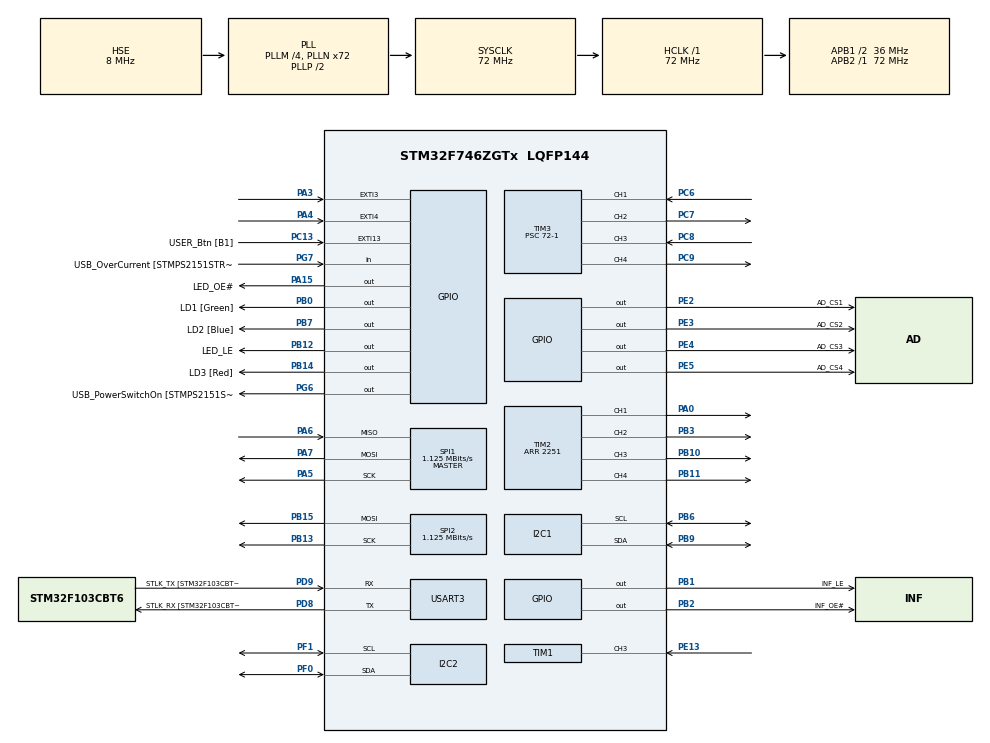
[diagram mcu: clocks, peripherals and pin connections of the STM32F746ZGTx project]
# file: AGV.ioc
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SPI1.VirtualType=VM_MASTER
SPI2.VirtualType=VM_MASTER
NVIC.TIM6_DAC_IRQn=true\:0\:0\:false\:false\:true\:true\:true
PB14.GPIO_Label=LD3 [Red]
PG6.GPIO_Label=USB_PowerSwitchOn [STMPS2151STR_EN]
PA14.GPIO_Label=TCK
PB13.Signal=SPI2_SCK
TIM3.Channel-PWM\ Generation4\ CH4=TIM_CHANNEL_4
RCC.SYSCLKSource=RCC_SYSCLKSOURCE_PLLCLK
USART3.VirtualMode-Asynchronous=VM_ASYNC
SPI1.Direction=SPI_DIRECTION_2LINES
RCC.APB2TimFreq_Value=72000000
PB6.Signal=I2C1_SCL
PC7.Signal=S_TIM3_CH2
PH1/OSC_OUT.Signal=RCC_OSC_OUT
PB6.Mode=I2C
SPI1.CalculateBaudRate=1.125 MBits/s
PD8.Signal=USART3_TX
PE5.Signal=GPIO_Output
TIM3.Channel-Input_Capture1_from_TI1=TIM_CHANNEL_1
PB2.Signal=GPIO_Output
PB12.GPIO_Label=LED_LE
PB1.GPIO_Label=INF_LE
SPI1.DataSize=SPI_DATASIZE_8BIT
PE4.GPIO_Label=AD_CS3
PE5.PinState=GPIO_PIN_SET
SPI2.CalculateBaudRate=1.125 MBits/s
PE2.Signal=GPIO_Output
VP_TIM1_VS_ClockSourceINT.Mode=Internal
Mcu.Package=LQFP144
PB9.Signal=I2C1_SDA
PB1.Signal=GPIO_Output
SPI2.Mode=SPI_MODE_MASTER
TIM7.AutoReloadPreload=TIM_AUTORELOAD_PRELOAD_ENABLE
RCC.APB1TimFreq_Value=72000000
TIM3.Pulse-PWM\ Generation2\ CH2=10
PB13.Mode=TX_Only_Simplex_Unidirect_Master
PA5.Mode=Full_Duplex_Master
NVIC.EXTI4_IRQn=true\:0\:0\:false\:false\:true\:true\:true
PD9.GPIO_Label=STLK_TX [STM32F103CBT6_PA2]
PC13.Signal=GPXTI13
PC6.Signal=S_TIM3_CH1
RCC.APB1CLKDivider=RCC_HCLK_DIV2
TIM1.AutoReloadPreload=TIM_AUTORELOAD_PRELOAD_ENABLE
PF1.Mode=I2C
I2C1.Timing=0x00808CD2
PD8.Mode=Asynchronous
PB10.Signal=S_TIM2_CH3
PB14.Signal=GPIO_Output
PA5.Signal=SPI1_SCK
NVIC.TIM3_IRQn=true\:0\:0\:false\:false\:true\:true\:true
RCC.PRESCALERUSB=RCC_USBCLKSOURCE_PLL_DIV1_5
SPI1.Mode=SPI_MODE_MASTER
PG7.GPIO_Label=USB_OverCurrent [STMPS2151STR_FAULT]
TIM2.Period=2251
PA13.Mode=Serial_Wire
SPI1.NSSPMode=SPI_NSS_PULSE_DISABLE
NVIC.TIM1_CC_IRQn=true\:0\:0\:false\:false\:true\:true\:true
PA4.Signal=GPXTI4
PE5.GPIO_Label=AD_CS4
SH.S_TIM2_CH1_ETR.0=TIM2_CH1,PWM Generation1 CH1
ProjectManager.HeapSize=0x200
NVIC.PriorityGroup=NVIC_PRIORITYGROUP_4
TIM3.Channel-PWM\ Generation2\ CH2=TIM_CHANNEL_2
PE3.Signal=GPIO_Output
TIM2.AutoReloadPreload=TIM_AUTORELOAD_PRELOAD_ENABLE
PE4.PinState=GPIO_PIN_SET
PC15/OSC32_OUT.Signal=RCC_OSC32_OUT
SPI2.DataSize=SPI_DATASIZE_8BIT
PB0.Signal=GPIO_Output
Mcu.Family=STM32F7
PA6.Mode=Full_Duplex_Master
RCC.CortexFreq_Value=72000000
PG6.Signal=GPIO_Output
RCC.SYSCLKSourceVirtual=RCC_SYSCLKSOURCE_PLLCLK
I2C2.Timing=0x00808CD2
NVIC.EXTI3_IRQn=true\:0\:0\:false\:false\:true\:true\:true
PA0/WKUP.Signal=S_TIM2_CH1_ETR
PB0.GPIO_Label=LD1 [Green]
PC14/OSC32_IN.Mode=LSE-External-Oscillator
TIM2.Channel-PWM\ Generation2\ CH2=TIM_CHANNEL_2
PC13.GPIO_Label=USER_Btn [B1]
PB11.Signal=S_TIM2_CH4
PB15.Signal=SPI2_MOSI
PD9.Mode=Asynchronous
ProjectManager.StackSize=0x400
VP_TIM7_VS_ClockSourceINT.Mode=Enable_Timer
TIM3.Channel-Input_Capture3_from_TI3=TIM_CHANNEL_3
PA15.GPIO_Label=LED_OE\#
TIM1.Prescaler=72-1
PH0/OSC_IN.Mode=HSE-External-Oscillator
RCC.HCLKFreq_Value=72000000
RCC.AHBFreq_Value=72000000
SPI2.BaudRatePrescaler=SPI_BAUDRATEPRESCALER_32
PE3.PinState=GPIO_PIN_SET
RCC.HSE_VALUE=8000000
RCC.PLLMUL=RCC_PLL_MUL9
PE13.Signal=S_TIM1_CH3
TIM1.Channel-Input_Capture3_from_TI3=TIM_CHANNEL_3
PA14.Mode=Serial_Wire
TIM3.Prescaler=72-1
PB7.Signal=GPIO_Output
TIM2.Channel-PWM\ Generation1\ CH1=TIM_CHANNEL_1
SH.S_TIM3_CH1.0=TIM3_CH1,Input_Capture1_from_TI1
PE4.Signal=GPIO_Output
PH1/OSC_OUT.Mode=HSE-External-Oscillator
PB7.GPIO_Label=LD2 [Blue]
PA6.Signal=SPI1_MISO
PC14/OSC32_IN.Signal=RCC_OSC32_IN
PA15.Signal=GPIO_Output
SPI2.Direction=SPI_DIRECTION_2LINES
PF0.Signal=I2C2_SDA
SPI1.BaudRatePrescaler=SPI_BAUDRATEPRESCALER_64
PE2.GPIO_Label=AD_CS1
NVIC.TIM7_IRQn=true\:0\:0\:false\:false\:true\:true\:true
VP_TIM3_VS_ClockSourceINT.Mode=Internal
PA3.Signal=GPXTI3
RCC.PLLSourceVirtual=RCC_PLLSOURCE_HSE
TIM2.Channel-PWM\ Generation4\ CH4=TIM_CHANNEL_4
PA7.Mode=Full_Duplex_Master
PG7.Signal=GPIO_Input
PE2.PinState=GPIO_PIN_SET
SPI2.NSSPMode=SPI_NSS_PULSE_DISABLE
PC8.Signal=S_TIM3_CH3
TIM6.Prescaler=3599
VP_TIM6_VS_ClockSourceINT.Mode=Enable_Timer
PD9.Signal=USART3_RX
SH.S_TIM3_CH3.0=TIM3_CH3,Input_Capture3_from_TI3
PD8.GPIO_Label=STLK_RX [STM32F103CBT6_PA3]
PA13.Signal=SYS_JTMS-SWDIO
TIM6.AutoReloadPreload=TIM_AUTORELOAD_PRELOAD_ENABLE
SH.S_TIM2_CH2.0=TIM2_CH2,PWM Generation2 CH2
ProjectManager.TargetToolchain=STM32CubeIDE
PB9.Mode=I2C
RCC.USBFreq_Value=48000000
SH.S_TIM3_CH2.0=TIM3_CH2,PWM Generation2 CH2
TIM7.Prescaler=3599
board=NUCLEO-F746ZG
RCC.VCOOutputFreq_Value=144000000
PB15.Mode=TX_Only_Simplex_Unidirect_Master
PH0/OSC_IN.Signal=RCC_OSC_IN
RCC.APB2Freq_Value=72000000
VP_TIM2_VS_ClockSourceINT.Mode=Internal
SH.S_TIM2_CH3.0=TIM2_CH3,PWM Generation3 CH3
TIM2.Channel-PWM\ Generation3\ CH3=TIM_CHANNEL_3
PF1.Signal=I2C2_SCL
Mcu.Name=STM32F746ZGTx
PA13.GPIO_Label=TMS
RCC.48MHZClocksFreq_Value=24000000
PB3.Signal=S_TIM2_CH2
RCC.SYSCLKFreq_VALUE=72000000
PC15/OSC32_OUT.Mode=LSE-External-Oscillator
PA14.Signal=SYS_JTCK-SWCLK
PB2.GPIO_Label=INF_OE\#
PF0.Mode=I2C
SH.S_TIM2_CH4.0=TIM2_CH4,PWM Generation4 CH4
SH.S_TIM1_CH3.0=TIM1_CH3,Input_Capture3_from_TI3
RCC.HSI_VALUE=16000000
PH0/OSC_IN.GPIO_Label=MCO [STM32F103CBT6_PA8]
RCC.PLLQ=3
RCC.PLLM=4
RCC.PLLN=72
PE3.GPIO_Label=AD_CS2
PC9.Signal=S_TIM3_CH4
RCC.APB1Freq_Value=36000000
TIM3.Pulse-PWM\ Generation4\ CH4=10
PB12.Signal=GPIO_Output
SH.S_TIM3_CH4.0=TIM3_CH4,PWM Generation4 CH4
PA7.Signal=SPI1_MOSI

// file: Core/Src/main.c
/* USER CODE BEGIN Header */
/**
  ******************************************************************************
  * @file           : main.c
  * @brief          : Main program body
  ******************************************************************************
  * @attention
  *
  * <h2><center>&copy; Copyright (c) 2021 STMicroelectronics.
  * All rights reserved.</center></h2>
  *
  * This software component is licensed by ST under BSD 3-Clause license,
  * the "License"; You may not use this file except in compliance with the
  * License. You may obtain a copy of the License at:
  *                        opensource.org/licenses/BSD-3-Clause
  *
  ******************************************************************************
  */
/* USER CODE END Header */
#include "main.h"

I2C_HandleTypeDef hi2c1;
I2C_HandleTypeDef hi2c2;

SPI_HandleTypeDef hspi1;
SPI_HandleTypeDef hspi2;

TIM_HandleTypeDef htim1;
TIM_HandleTypeDef htim2;
TIM_HandleTypeDef htim3;
TIM_HandleTypeDef htim6;
TIM_HandleTypeDef htim7;

UART_HandleTypeDef huart3;

void SystemClock_Config(void);
static void MX_GPIO_Init(void);
static void MX_USART3_UART_Init(void);
static void MX_I2C1_Init(void);
static void MX_TIM1_Init(void);
static void MX_TIM3_Init(void);
static void MX_TIM2_Init(void);
static void MX_SPI1_Init(void);
static void MX_SPI2_Init(void);
static void MX_I2C2_Init(void);
static void MX_TIM6_Init(void);
static void MX_TIM7_Init(void);

int main(void)
{

  /* MCU Configuration--------------------------------------------------------*/

  /* Reset of all peripherals, Initializes the Flash interface and the Systick. */
  HAL_Init();

  /* Configure the system clock */
  SystemClock_Config();

  /* Initialize all configured peripherals */
  MX_GPIO_Init();
  MX_USART3_UART_Init();
  MX_I2C1_Init();
  MX_TIM1_Init();
  MX_TIM3_Init();
  MX_TIM2_Init();
  MX_SPI1_Init();
  MX_SPI2_Init();
  MX_I2C2_Init();
  MX_TIM6_Init();
  MX_TIM7_Init();
  /* USER CODE BEGIN 2 */
  initMyCOM(&huart3);
  Encoder_Init();
  Motors_Init(&htim2);
  initUS(&htim3);
  initACCSensor(&hi2c2);
  initlezer(&htim1);
  // Variables
  uint32_t black; //line detect
  unsigned int lDist = 500;
  unsigned int rDist = 500;
  unsigned int mDist = 5000;

  //rightMotor(0.60);
  //leftMotor(0.60);

  /* USER CODE END 2 */

  /* Infinite loop */
  /* USER CODE BEGIN WHILE */
  while (1)
  {
	  /*printf("\033[3J");
	  printf("\e[1;1H\e[2J");*/

	 //WriteEncoderToPC();
	 lightSensorCycle();
	 // printf("Leds: %x\n", (unsigned int)black);
	  lDist = (unsigned int)getUSDistanceLeft();
	//  printf("Left US sensor: %u\n", lDist);
	  rDist = (unsigned int)getUSDistanceRight();
	//  printf("Right US sensor: %u\n", rDist);
	 mDist = (unsigned int)getlezerDistance();
	 //printf("Laser sensor: %u\n", mDist);
	  //printf("Acceleration: x: %f y: %f z: %f, Euler: x: %f y: %f z: %f\n", getAccWithMeasure().x, getMeasuredAcc().y, getMeasuredAcc().z, getEulerWithMeasure().x, getMeasuredEuler().y, getMeasuredEuler().z);
	 printf("Y: %f\n", getAccWithMeasure().y);
	 /*
	  printf("                                                                                                                                \n");
	  printf("                                                                                                                                \n");
	  printf("                                                                                                                                \n");
	  printf("                                                                                                                                \n");
	  printf("                                                                                                                                \n");
	  printf("                                                                                                                                \n");
	  printf("                                                                                                                                \n");
	  printf("                                                                                                                                \n");
	  printf("                                                                                                                                \n");
	  printf("                                                                                                                                \n");
	  printf("                                                                                                                                \n");
	  printf("                                                                                                                                \n");
	  printf("                                                                                                                                \n");
	  printf("                                                                                                                                \n");
	  printf("                                                                                                                                \n");
	  printf("                                                                                                                                \n");
	  printf("                                                                                                                                \n");
	  printf("                                                                                                                                \n");
	  printf("                                                                                                                                \n");
	  printf("                                                                                                                                \n");
	  printf("                                                                                                                                \n");
*/
	  if (lDist < 50 || rDist < 50 || mDist < 500)
	  {
		  leftMotor(0);
		  rightMotor(0);
	  }
	  else
	  {
		  leftMotor(0.6);
		  rightMotor(0.6);
	  }
/*
	  double avgSpeed = 0;
	  for(int i = 0; i < 100; i++){
		  avgSpeed += GetSpeedOfMotor(1);
	  }
	  printf("%f\n", avgSpeed);
*/
    /* USER CODE END WHILE */

  }
}

void SystemClock_Config(void)
{
  RCC_OscInitTypeDef RCC_OscInitStruct = {0};
  RCC_ClkInitTypeDef RCC_ClkInitStruct = {0};
  RCC_PeriphCLKInitTypeDef PeriphClkInitStruct = {0};

  /** Configure LSE Drive Capability
  */
  HAL_PWR_EnableBkUpAccess();
  /** Configure the main internal regulator output voltage
  */
  __HAL_RCC_PWR_CLK_ENABLE();
  __HAL_PWR_VOLTAGESCALING_CONFIG(PWR_REGULATOR_VOLTAGE_SCALE3);
  /** Initializes the RCC Oscillators according to the specified parameters
  * in the RCC_OscInitTypeDef structure.
  */
  RCC_OscInitStruct.OscillatorType = RCC_OSCILLATORTYPE_HSE;
  RCC_OscInitStruct.HSEState = RCC_HSE_ON;
  RCC_OscInitStruct.PLL.PLLState = RCC_PLL_ON;
  RCC_OscInitStruct.PLL.PLLSource = RCC_PLLSOURCE_HSE;
  RCC_OscInitStruct.PLL.PLLM = 4;
  RCC_OscInitStruct.PLL.PLLN = 72;
  RCC_OscInitStruct.PLL.PLLP = RCC_PLLP_DIV2;
  RCC_OscInitStruct.PLL.PLLQ = 3;
  if (HAL_RCC_OscConfig(&RCC_OscInitStruct) != HAL_OK)
  {
    Error_Handler();
  }
  /** Initializes the CPU, AHB and APB buses clocks
  */
  RCC_ClkInitStruct.ClockType = RCC_CLOCKTYPE_HCLK|RCC_CLOCKTYPE_SYSCLK
                              |RCC_CLOCKTYPE_PCLK1|RCC_CLOCKTYPE_PCLK2;
  RCC_ClkInitStruct.SYSCLKSource = RCC_SYSCLKSOURCE_PLLCLK;
  RCC_ClkInitStruct.AHBCLKDivider = RCC_SYSCLK_DIV1;
  RCC_ClkInitStruct.APB1CLKDivider = RCC_HCLK_DIV2;
  RCC_ClkInitStruct.APB2CLKDivider = RCC_HCLK_DIV1;

  if (HAL_RCC_ClockConfig(&RCC_ClkInitStruct, FLASH_LATENCY_2) != HAL_OK)
  {
    Error_Handler();
  }
  PeriphClkInitStruct.PeriphClockSelection = RCC_PERIPHCLK_USART3|RCC_PERIPHCLK_I2C1
                              |RCC_PERIPHCLK_I2C2;
  PeriphClkInitStruct.Usart3ClockSelection = RCC_USART3CLKSOURCE_PCLK1;
  PeriphClkInitStruct.I2c1ClockSelection = RCC_I2C1CLKSOURCE_PCLK1;
  PeriphClkInitStruct.I2c2ClockSelection = RCC_I2C2CLKSOURCE_PCLK1;
  if (HAL_RCCEx_PeriphCLKConfig(&PeriphClkInitStruct) != HAL_OK)
  {
    Error_Handler();
  }
}

static void MX_I2C1_Init(void)
{

  hi2c1.Instance = I2C1;
  hi2c1.Init.Timing = 0x00808CD2;
  hi2c1.Init.OwnAddress1 = 0;
  hi2c1.Init.AddressingMode = I2C_ADDRESSINGMODE_7BIT;
  hi2c1.Init.DualAddressMode = I2C_DUALADDRESS_DISABLE;
  hi2c1.Init.OwnAddress2 = 0;
  hi2c1.Init.OwnAddress2Masks = I2C_OA2_NOMASK;
  hi2c1.Init.GeneralCallMode = I2C_GENERALCALL_DISABLE;
  hi2c1.Init.NoStretchMode = I2C_NOSTRETCH_DISABLE;
  if (HAL_I2C_Init(&hi2c1) != HAL_OK)
  {
    Error_Handler();
  }
  /** Configure Analogue filter
  */
  if (HAL_I2CEx_ConfigAnalogFilter(&hi2c1, I2C_ANALOGFILTER_ENABLE) != HAL_OK)
  {
    Error_Handler();
  }
  /** Configure Digital filter
  */
  if (HAL_I2CEx_ConfigDigitalFilter(&hi2c1, 0) != HAL_OK)
  {
    Error_Handler();
  }

}

static void MX_I2C2_Init(void)
{

  hi2c2.Instance = I2C2;
  hi2c2.Init.Timing = 0x00808CD2;
  hi2c2.Init.OwnAddress1 = 0;
  hi2c2.Init.AddressingMode = I2C_ADDRESSINGMODE_7BIT;
  hi2c2.Init.DualAddressMode = I2C_DUALADDRESS_DISABLE;
  hi2c2.Init.OwnAddress2 = 0;
  hi2c2.Init.OwnAddress2Masks = I2C_OA2_NOMASK;
  hi2c2.Init.GeneralCallMode = I2C_GENERALCALL_DISABLE;
  hi2c2.Init.NoStretchMode = I2C_NOSTRETCH_DISABLE;
  if (HAL_I2C_Init(&hi2c2) != HAL_OK)
  {
    Error_Handler();
  }
  /** Configure Analogue filter
  */
  if (HAL_I2CEx_ConfigAnalogFilter(&hi2c2, I2C_ANALOGFILTER_ENABLE) != HAL_OK)
  {
    Error_Handler();
  }
  /** Configure Digital filter
  */
  if (HAL_I2CEx_ConfigDigitalFilter(&hi2c2, 0) != HAL_OK)
  {
    Error_Handler();
  }

}

static void MX_SPI1_Init(void)
{

  /* SPI1 parameter configuration*/
  hspi1.Instance = SPI1;
  hspi1.Init.Mode = SPI_MODE_MASTER;
  hspi1.Init.Direction = SPI_DIRECTION_2LINES;
  hspi1.Init.DataSize = SPI_DATASIZE_8BIT;
  hspi1.Init.CLKPolarity = SPI_POLARITY_LOW;
  hspi1.Init.CLKPhase = SPI_PHASE_1EDGE;
  hspi1.Init.NSS = SPI_NSS_SOFT;
  hspi1.Init.BaudRatePrescaler = SPI_BAUDRATEPRESCALER_64;
  hspi1.Init.FirstBit = SPI_FIRSTBIT_MSB;
  hspi1.Init.TIMode = SPI_TIMODE_DISABLE;
  hspi1.Init.CRCCalculation = SPI_CRCCALCULATION_DISABLE;
  hspi1.Init.CRCPolynomial = 7;
  hspi1.Init.CRCLength = SPI_CRC_LENGTH_DATASIZE;
  hspi1.Init.NSSPMode = SPI_NSS_PULSE_DISABLE;
  if (HAL_SPI_Init(&hspi1) != HAL_OK)
  {
    Error_Handler();
  }

}

static void MX_SPI2_Init(void)
{

  /* SPI2 parameter configuration*/
  hspi2.Instance = SPI2;
  hspi2.Init.Mode = SPI_MODE_MASTER;
  hspi2.Init.Direction = SPI_DIRECTION_2LINES;
  hspi2.Init.DataSize = SPI_DATASIZE_8BIT;
  hspi2.Init.CLKPolarity = SPI_POLARITY_LOW;
  hspi2.Init.CLKPhase = SPI_PHASE_1EDGE;
  hspi2.Init.NSS = SPI_NSS_SOFT;
  hspi2.Init.BaudRatePrescaler = SPI_BAUDRATEPRESCALER_32;
  hspi2.Init.FirstBit = SPI_FIRSTBIT_MSB;
  hspi2.Init.TIMode = SPI_TIMODE_DISABLE;
  hspi2.Init.CRCCalculation = SPI_CRCCALCULATION_DISABLE;
  hspi2.Init.CRCPolynomial = 7;
  hspi2.Init.CRCLength = SPI_CRC_LENGTH_DATASIZE;
  hspi2.Init.NSSPMode = SPI_NSS_PULSE_DISABLE;
  if (HAL_SPI_Init(&hspi2) != HAL_OK)
  {
    Error_Handler();
  }

}

static void MX_TIM1_Init(void)
{

  TIM_ClockConfigTypeDef sClockSourceConfig = {0};
  TIM_MasterConfigTypeDef sMasterConfig = {0};
  TIM_IC_InitTypeDef sConfigIC = {0};

  htim1.Instance = TIM1;
  htim1.Init.Prescaler = 72-1;
  htim1.Init.CounterMode = TIM_COUNTERMODE_UP;
  htim1.Init.Period = 65535;
  htim1.Init.ClockDivision = TIM_CLOCKDIVISION_DIV1;
  htim1.Init.RepetitionCounter = 0;
  htim1.Init.AutoReloadPreload = TIM_AUTORELOAD_PRELOAD_ENABLE;
  if (HAL_TIM_Base_Init(&htim1) != HAL_OK)
  {
    Error_Handler();
  }
  sClockSourceConfig.ClockSource = TIM_CLOCKSOURCE_INTERNAL;
  if (HAL_TIM_ConfigClockSource(&htim1, &sClockSourceConfig) != HAL_OK)
  {
    Error_Handler();
  }
  if (HAL_TIM_IC_Init(&htim1) != HAL_OK)
  {
    Error_Handler();
  }
  sMasterConfig.MasterOutputTrigger = TIM_TRGO_RESET;
  sMasterConfig.MasterOutputTrigger2 = TIM_TRGO2_RESET;
  sMasterConfig.MasterSlaveMode = TIM_MASTERSLAVEMODE_DISABLE;
  if (HAL_TIMEx_MasterConfigSynchronization(&htim1, &sMasterConfig) != HAL_OK)
  {
    Error_Handler();
  }
  sConfigIC.ICPolarity = TIM_INPUTCHANNELPOLARITY_RISING;
  sConfigIC.ICSelection = TIM_ICSELECTION_DIRECTTI;
  sConfigIC.ICPrescaler = TIM_ICPSC_DIV1;
  sConfigIC.ICFilter = 0;
  if (HAL_TIM_IC_ConfigChannel(&htim1, &sConfigIC, TIM_CHANNEL_3) != HAL_OK)
  {
    Error_Handler();
  }

}

static void MX_TIM2_Init(void)
{

  TIM_ClockConfigTypeDef sClockSourceConfig = {0};
  TIM_MasterConfigTypeDef sMasterConfig = {0};
  TIM_OC_InitTypeDef sConfigOC = {0};

  htim2.Instance = TIM2;
  htim2.Init.Prescaler = 0;
  htim2.Init.CounterMode = TIM_COUNTERMODE_UP;
  htim2.Init.Period = 2251;
  htim2.Init.ClockDivision = TIM_CLOCKDIVISION_DIV1;
  htim2.Init.AutoReloadPreload = TIM_AUTORELOAD_PRELOAD_ENABLE;
  if (HAL_TIM_Base_Init(&htim2) != HAL_OK)
  {
    Error_Handler();
  }
  sClockSourceConfig.ClockSource = TIM_CLOCKSOURCE_INTERNAL;
  if (HAL_TIM_ConfigClockSource(&htim2, &sClockSourceConfig) != HAL_OK)
  {
    Error_Handler();
  }
  if (HAL_TIM_PWM_Init(&htim2) != HAL_OK)
  {
    Error_Handler();
  }
  sMasterConfig.MasterOutputTrigger = TIM_TRGO_RESET;
  sMasterConfig.MasterSlaveMode = TIM_MASTERSLAVEMODE_DISABLE;
  if (HAL_TIMEx_MasterConfigSynchronization(&htim2, &sMasterConfig) != HAL_OK)
  {
    Error_Handler();
  }
  sConfigOC.OCMode = TIM_OCMODE_PWM1;
  sConfigOC.Pulse = 0;
  sConfigOC.OCPolarity = TIM_OCPOLARITY_HIGH;
  sConfigOC.OCFastMode = TIM_OCFAST_DISABLE;
  if (HAL_TIM_PWM_ConfigChannel(&htim2, &sConfigOC, TIM_CHANNEL_1) != HAL_OK)
  {
    Error_Handler();
  }
  if (HAL_TIM_PWM_ConfigChannel(&htim2, &sConfigOC, TIM_CHANNEL_2) != HAL_OK)
  {
    Error_Handler();
  }
  if (HAL_TIM_PWM_ConfigChannel(&htim2, &sConfigOC, TIM_CHANNEL_3) != HAL_OK)
  {
    Error_Handler();
  }
  if (HAL_TIM_PWM_ConfigChannel(&htim2, &sConfigOC, TIM_CHANNEL_4) != HAL_OK)
  {
    Error_Handler();
  }
  HAL_TIM_MspPostInit(&htim2);

}

static void MX_TIM3_Init(void)
{

  TIM_ClockConfigTypeDef sClockSourceConfig = {0};
  TIM_MasterConfigTypeDef sMasterConfig = {0};
  TIM_IC_InitTypeDef sConfigIC = {0};
  TIM_OC_InitTypeDef sConfigOC = {0};

  htim3.Instance = TIM3;
  htim3.Init.Prescaler = 72-1;
  htim3.Init.CounterMode = TIM_COUNTERMODE_UP;
  htim3.Init.Period = 65535;
  htim3.Init.ClockDivision = TIM_CLOCKDIVISION_DIV1;
  htim3.Init.AutoReloadPreload = TIM_AUTORELOAD_PRELOAD_DISABLE;
  if (HAL_TIM_Base_Init(&htim3) != HAL_OK)
  {
    Error_Handler();
  }
  sClockSourceConfig.ClockSource = TIM_CLOCKSOURCE_INTERNAL;
  if (HAL_TIM_ConfigClockSource(&htim3, &sClockSourceConfig) != HAL_OK)
  {
    Error_Handler();
  }
  if (HAL_TIM_IC_Init(&htim3) != HAL_OK)
  {
    Error_Handler();
  }
  if (HAL_TIM_PWM_Init(&htim3) != HAL_OK)
  {
    Error_Handler();
  }
  sMasterConfig.MasterOutputTrigger = TIM_TRGO_RESET;
  sMasterConfig.MasterSlaveMode = TIM_MASTERSLAVEMODE_DISABLE;
  if (HAL_TIMEx_MasterConfigSynchronization(&htim3, &sMasterConfig) != HAL_OK)
  {
    Error_Handler();
  }
  sConfigIC.ICPolarity = TIM_INPUTCHANNELPOLARITY_RISING;
  sConfigIC.ICSelection = TIM_ICSELECTION_DIRECTTI;
  sConfigIC.ICPrescaler = TIM_ICPSC_DIV1;
  sConfigIC.ICFilter = 0;
  if (HAL_TIM_IC_ConfigChannel(&htim3, &sConfigIC, TIM_CHANNEL_1) != HAL_OK)
  {
    Error_Handler();
  }
  sConfigOC.OCMode = TIM_OCMODE_PWM1;
  sConfigOC.Pulse = 10;
  sConfigOC.OCPolarity = TIM_OCPOLARITY_HIGH;
  sConfigOC.OCFastMode = TIM_OCFAST_DISABLE;
  if (HAL_TIM_PWM_ConfigChannel(&htim3, &sConfigOC, TIM_CHANNEL_2) != HAL_OK)
  {
    Error_Handler();
  }
  if (HAL_TIM_IC_ConfigChannel(&htim3, &sConfigIC, TIM_CHANNEL_3) != HAL_OK)
  {
    Error_Handler();
  }
  if (HAL_TIM_PWM_ConfigChannel(&htim3, &sConfigOC, TIM_CHANNEL_4) != HAL_OK)
  {
    Error_Handler();
  }
  HAL_TIM_MspPostInit(&htim3);

}

static void MX_TIM6_Init(void)
{

  TIM_MasterConfigTypeDef sMasterConfig = {0};

  htim6.Instance = TIM6;
  htim6.Init.Prescaler = 3599;
  htim6.Init.CounterMode = TIM_COUNTERMODE_UP;
  htim6.Init.Period = 65535;
  htim6.Init.AutoReloadPreload = TIM_AUTORELOAD_PRELOAD_ENABLE;
  if (HAL_TIM_Base_Init(&htim6) != HAL_OK)
  {
    Error_Handler();
  }
  sMasterConfig.MasterOutputTrigger = TIM_TRGO_RESET;
  sMasterConfig.MasterSlaveMode = TIM_MASTERSLAVEMODE_DISABLE;
  if (HAL_TIMEx_MasterConfigSynchronization(&htim6, &sMasterConfig) != HAL_OK)
  {
    Error_Handler();
  }

}

static void MX_TIM7_Init(void)
{

  TIM_MasterConfigTypeDef sMasterConfig = {0};

  htim7.Instance = TIM7;
  htim7.Init.Prescaler = 3599;
  htim7.Init.CounterMode = TIM_COUNTERMODE_UP;
  htim7.Init.Period = 65535;
  htim7.Init.AutoReloadPreload = TIM_AUTORELOAD_PRELOAD_ENABLE;
  if (HAL_TIM_Base_Init(&htim7) != HAL_OK)
  {
    Error_Handler();
  }
  sMasterConfig.MasterOutputTrigger = TIM_TRGO_RESET;
  sMasterConfig.MasterSlaveMode = TIM_MASTERSLAVEMODE_DISABLE;
  if (HAL_TIMEx_MasterConfigSynchronization(&htim7, &sMasterConfig) != HAL_OK)
  {
    Error_Handler();
  }

}

static void MX_USART3_UART_Init(void)
{

  huart3.Instance = USART3;
  huart3.Init.BaudRate = 115200;
  huart3.Init.WordLength = UART_WORDLENGTH_8B;
  huart3.Init.StopBits = UART_STOPBITS_1;
  huart3.Init.Parity = UART_PARITY_NONE;
  huart3.Init.Mode = UART_MODE_TX_RX;
  huart3.Init.HwFlowCtl = UART_HWCONTROL_NONE;
  huart3.Init.OverSampling = UART_OVERSAMPLING_16;
  huart3.Init.OneBitSampling = UART_ONE_BIT_SAMPLE_DISABLE;
  huart3.AdvancedInit.AdvFeatureInit = UART_ADVFEATURE_NO_INIT;
  if (HAL_UART_Init(&huart3) != HAL_OK)
  {
    Error_Handler();
  }

}

static void MX_GPIO_Init(void)
{
  GPIO_InitTypeDef GPIO_InitStruct = {0};

  /* GPIO Ports Clock Enable */
  __HAL_RCC_GPIOE_CLK_ENABLE();
  __HAL_RCC_GPIOC_CLK_ENABLE();
  __HAL_RCC_GPIOF_CLK_ENABLE();
  __HAL_RCC_GPIOH_CLK_ENABLE();
  __HAL_RCC_GPIOA_CLK_ENABLE();
  __HAL_RCC_GPIOB_CLK_ENABLE();
  __HAL_RCC_GPIOD_CLK_ENABLE();
  __HAL_RCC_GPIOG_CLK_ENABLE();

  /*Configure GPIO pin Output Level */
  HAL_GPIO_WritePin(GPIOE, AD_CS1_Pin|AD_CS2_Pin|AD_CS3_Pin|AD_CS4_Pin, GPIO_PIN_SET);

  /*Configure GPIO pin Output Level */
  HAL_GPIO_WritePin(GPIOB, LD1_Pin|INF_LE_Pin|INF_OE__Pin|LED_LE_Pin
                          |LD3_Pin|LD2_Pin, GPIO_PIN_RESET);

  /*Configure GPIO pin Output Level */
  HAL_GPIO_WritePin(USB_PowerSwitchOn_GPIO_Port, USB_PowerSwitchOn_Pin, GPIO_PIN_RESET);

  /*Configure GPIO pin Output Level */
  HAL_GPIO_WritePin(LED_OE__GPIO_Port, LED_OE__Pin, GPIO_PIN_RESET);

  /*Configure GPIO pins : AD_CS1_Pin AD_CS2_Pin AD_CS3_Pin AD_CS4_Pin */
  GPIO_InitStruct.Pin = AD_CS1_Pin|AD_CS2_Pin|AD_CS3_Pin|AD_CS4_Pin;
  GPIO_InitStruct.Mode = GPIO_MODE_OUTPUT_PP;
  GPIO_InitStruct.Pull = GPIO_NOPULL;
  GPIO_InitStruct.Speed = GPIO_SPEED_FREQ_LOW;
  HAL_GPIO_Init(GPIOE, &GPIO_InitStruct);

  /*Configure GPIO pin : USER_Btn_Pin */
  GPIO_InitStruct.Pin = USER_Btn_Pin;
  GPIO_InitStruct.Mode = GPIO_MODE_IT_RISING;
  GPIO_InitStruct.Pull = GPIO_NOPULL;
  HAL_GPIO_Init(USER_Btn_GPIO_Port, &GPIO_InitStruct);

  /*Configure GPIO pins : PA3 PA4 */
  GPIO_InitStruct.Pin = GPIO_PIN_3|GPIO_PIN_4;
  GPIO_InitStruct.Mode = GPIO_MODE_IT_RISING;
  GPIO_InitStruct.Pull = GPIO_NOPULL;
  HAL_GPIO_Init(GPIOA, &GPIO_InitStruct);

  /*Configure GPIO pins : LD1_Pin INF_LE_Pin INF_OE__Pin LED_LE_Pin
                           LD3_Pin LD2_Pin */
  GPIO_InitStruct.Pin = LD1_Pin|INF_LE_Pin|INF_OE__Pin|LED_LE_Pin
                          |LD3_Pin|LD2_Pin;
  GPIO_InitStruct.Mode = GPIO_MODE_OUTPUT_PP;
  GPIO_InitStruct.Pull = GPIO_NOPULL;
  GPIO_InitStruct.Speed = GPIO_SPEED_FREQ_LOW;
  HAL_GPIO_Init(GPIOB, &GPIO_InitStruct);

  /*Configure GPIO pin : USB_PowerSwitchOn_Pin */
  GPIO_InitStruct.Pin = USB_PowerSwitchOn_Pin;
  GPIO_InitStruct.Mode = GPIO_MODE_OUTPUT_PP;
  GPIO_InitStruct.Pull = GPIO_NOPULL;
  GPIO_InitStruct.Speed = GPIO_SPEED_FREQ_LOW;
  HAL_GPIO_Init(USB_PowerSwitchOn_GPIO_Port, &GPIO_InitStruct);

  /*Configure GPIO pin : USB_OverCurrent_Pin */
  GPIO_InitStruct.Pin = USB_OverCurrent_Pin;
  GPIO_InitStruct.Mode = GPIO_MODE_INPUT;
  GPIO_InitStruct.Pull = GPIO_NOPULL;
  HAL_GPIO_Init(USB_OverCurrent_GPIO_Port, &GPIO_InitStruct);

  /*Configure GPIO pin : LED_OE__Pin */
  GPIO_InitStruct.Pin = LED_OE__Pin;
  GPIO_InitStruct.Mode = GPIO_MODE_OUTPUT_PP;
  GPIO_InitStruct.Pull = GPIO_NOPULL;
  GPIO_InitStruct.Speed = GPIO_SPEED_FREQ_LOW;
  HAL_GPIO_Init(LED_OE__GPIO_Port, &GPIO_InitStruct);

  /* EXTI interrupt init*/
  HAL_NVIC_SetPriority(EXTI3_IRQn, 0, 0);
  HAL_NVIC_EnableIRQ(EXTI3_IRQn);

  HAL_NVIC_SetPriority(EXTI4_IRQn, 0, 0);
  HAL_NVIC_EnableIRQ(EXTI4_IRQn);

}

void Error_Handler(void)
{
  __disable_irq();
  while (1)
  {
  }
}

/************************ (C) COPYRIGHT STMicroelectronics *****END OF FILE****/
